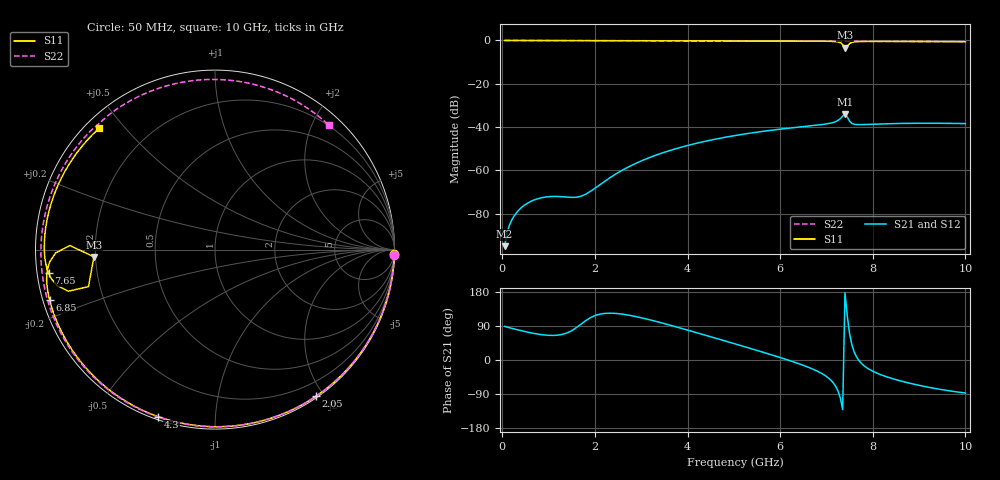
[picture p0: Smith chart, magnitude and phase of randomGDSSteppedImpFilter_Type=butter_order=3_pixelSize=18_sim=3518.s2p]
! freq	dB(S11)	phase(S11)	dB(S12)	phase(S12)
!  dB(S21)	phase(S21)	dB(S22)	phase(S22)
!S-par simulation data
#  GHz  S  DB  R 50
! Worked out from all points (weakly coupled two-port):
!   200 points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, 50 MHz to 10 GHz, reference 50 ohm
!   highest |S21| = -34.04 dB at 7.4 GHz (marker M1); lowest = -95.0 dB at 50 MHz (marker M2)
!   lowest |S11| = -3.4 dB at 7.4 GHz (marker M3), VSWR 5.17, Z = 9.68 - j1.44 ohm
!   |S11| at or under -10 dB: nowhere
!   |S22| runs from -0.5 to 0.0 dB; largest |S21 - S12| = 0
!   S11 on the Smith chart (normalised r, x): 50 MHz: 0, -81; 2.05 GHz: 0.02, -1.90; 4.3 GHz: 0.01, -0.72; 6.85 GHz: 0.02, -0.15; 7.65 GHz: 0.03, -0.07; 10 GHz: 0.04, +0.43
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0.05  -0.00 -1.4  -95.03 88.7  -95.03 88.7  -0.00 -1.9
0.3  -0.01 -8.4  -79.73 80.5  -79.73 80.5  -0.02 -11.0
0.55  -0.02 -15.3  -75.11 73.4  -75.11 73.4  -0.03 -20.1
0.85  -0.03 -23.5  -72.66 66.8  -72.66 66.8  -0.04 -31.0
1.75  -0.06 -47.6  -71.52 99.3  -71.52 99.3  -0.08 -62.3
2.05  -0.07 -55.4  -67.50 119.1  -67.50 119.1  -0.09 -72.3
2.7  -0.09 -71.7  -58.69 119.0  -58.69 119.0  -0.11 -93.2
3.4  -0.11 -88.4  -52.36 99.3  -52.36 99.3  -0.14 -114.4
4.3  -0.15 -108.8  -46.96 68.4  -46.96 68.4  -0.18 -140.3
5.05  -0.18 -124.9  -43.83 41.6  -43.83 41.6  -0.22 -161.3
5.9  -0.23 -142.7  -41.23 10.4  -41.23 10.4  -0.27 175.1
6.7  -0.30 -159.7  -39.35 -23.8  -39.35 -23.8  -0.33 152.5
6.85  -0.32 -163.1  -38.99 -32.4  -38.99 -32.4  -0.34 148.1
7.25  -0.70 -175.8  -36.92 -82.1  -36.92 -82.1  -0.37 136.3
7.35  -1.84 178.4  -34.91 -131.0  -34.91 -131.0  -0.40 133.3
7.4  -3.40 -176.6  -34.04 178.0  -34.04 178.0  -0.41 131.9
7.45  -2.68 -163.7  -35.37 115.7  -35.37 115.7  -0.40 130.5
7.5  -1.41 -164.2  -37.31 69.0  -37.31 69.0  -0.40 129.0
7.65  -0.57 -171.9  -38.86 8.0  -38.86 8.0  -0.40 124.3
8.35  -0.44 170.2  -38.43 -46.3  -38.43 -46.3  -0.44 102.4
9.15  -0.51 152.7  -38.24 -70.7  -38.24 -70.7  -0.49 76.2
10  -0.59 133.6  -38.41 -87.1  -38.41 -87.1  -0.54 47.6
